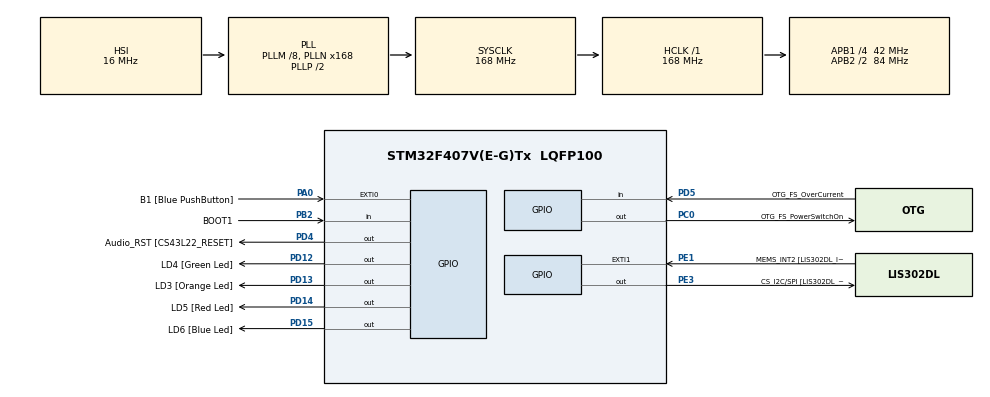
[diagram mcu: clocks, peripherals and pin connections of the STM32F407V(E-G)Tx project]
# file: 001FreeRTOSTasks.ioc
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Mcu.Family=STM32F4
PA11.GPIO_Speed=GPIO_SPEED_FREQ_LOW
PC3.GPIO_Mode=GPIO_MODE_AF_PP
PD12.GPIO_Label=LD4 [Green Led]
PH0-OSC_IN.Signal=RCC_OSC_IN
VP_SYS_VS_tim6.Mode=TIM6
RCC.CortexFreq_Value=168000000
PC10.GPIO_PuPd=GPIO_NOPULL
PB10.GPIO_Speed=GPIO_SPEED_FREQ_LOW
PB6.GPIO_Mode=GPIO_MODE_AF_OD
PB10.GPIO_PuPd=GPIO_NOPULL
NVIC.TIM6_DAC_IRQn=true\:0\:0\:false\:false\:true\:false\:true
PA10.GPIO_PuPd=GPIO_NOPULL
PD15.GPIO_Speed=GPIO_SPEED_FREQ_LOW
PC10.Signal=I2S3_CK
PC12.Signal=I2S3_SD
PA14.GPIO_Label=SWCLK
PA7.GPIO_Mode=GPIO_MODE_AF_PP
PC0.GPIO_Label=OTG_FS_PowerSwitchOn
PA6.GPIO_Label=SPI1_MISO [LIS302DL_SDO]
PB6.GPIO_Label=Audio_SCL [CS43L22_SCL]
PC10.GPIO_Speed=GPIO_SPEED_FREQ_LOW
PA11.GPIO_PuPd=GPIO_NOPULL
PC15-OSC32_OUT.GPIO_Label=PC15-OSC32_OUT
PC3.GPIO_Speed=GPIO_SPEED_FREQ_LOW
RCC.SYSCLKSource=RCC_SYSCLKSOURCE_PLLCLK
ProjectManager.StackSize=0x400
PA6.GPIO_Mode=GPIO_MODE_AF_PP
PD13.Signal=GPIO_Output
PD14.GPIO_Speed=GPIO_SPEED_FREQ_LOW
PA12.Signal=USB_OTG_FS_DP
RCC.HCLKFreq_Value=168000000
PD4.Signal=GPIO_Output
RCC.APB2TimFreq_Value=168000000
PB6.Signal=I2C1_SCL
PC7.Signal=I2S3_MCK
PC3.Signal=I2S2_SD
PE1.Signal=GPXTI1
RCC.AHBFreq_Value=168000000
PH0-OSC_IN.GPIO_Label=PH0-OSC_IN
PA9.GPIO_Mode=GPIO_MODE_INPUT
RCC.HSE_VALUE=8000000
PA4.GPIO_PuPd=GPIO_NOPULL
PB2.Signal=GPIO_Input
PA4.GPIO_Speed=GPIO_SPEED_FREQ_LOW
PA6.GPIO_PuPd=GPIO_NOPULL
PA5.GPIO_PuPd=GPIO_NOPULL
PA10.GPIO_Label=OTG_FS_ID
PC7.GPIO_Mode=GPIO_MODE_AF_PP
PD5.GPIO_Mode=GPIO_MODE_INPUT
PD14.GPIO_PuPd=GPIO_NOPULL
PB2.GPIO_PuPd=GPIO_NOPULL
PD13.GPIO_Label=LD3 [Orange Led]
Mcu.Package=LQFP100
PB9.Signal=I2C1_SDA
PA6.Signal=SPI1_MISO
NVIC.TimeBase=TIM6_DAC_IRQn
PD12.Signal=GPIO_Output
PD5.GPIO_Label=OTG_FS_OverCurrent
PD15.GPIO_PuPd=GPIO_NOPULL
NVIC.TimeBaseIP=TIM6
PA10.Signal=USB_OTG_FS_ID
PB9.GPIO_PuPd=GPIO_NOPULL
PA10.GPIO_Speed=GPIO_SPEED_FREQ_LOW
RCC.APB2CLKDivider=RCC_HCLK_DIV2
PB9.GPIO_Speed=GPIO_SPEED_FREQ_LOW
RCC.APB1TimFreq_Value=84000000
PC14-OSC32_IN.GPIO_Label=PC14-OSC32_IN
PC12.GPIO_PuPd=GPIO_NOPULL
PA6.GPIO_Speed=GPIO_SPEED_FREQ_LOW
PC0.GPIO_PuPd=GPIO_NOPULL
PA12.GPIO_PuPd=GPIO_NOPULL
PA4.GPIO_Label=I2S3_WS [CS43L22_LRCK]
PD15.Signal=GPIO_Output
PC0.PinState=GPIO_PIN_SET
PA12.GPIO_Speed=GPIO_SPEED_FREQ_LOW
PB3.GPIO_Label=SWO
PD12.GPIO_Speed=GPIO_SPEED_FREQ_LOW
PD15.GPIO_Label=LD6 [Blue Led]
PB9.GPIO_Label=Audio_SDA [CS43L22_SDA]
PC10.GPIO_Label=I2S3_SCK [CS43L22_SCLK]
PA9.GPIO_Label=VBUS_FS
PB6.GPIO_PuPd=GPIO_NOPULL
PA11.GPIO_Label=OTG_FS_DM
PE1.GPIO_PuPd=GPIO_NOPULL
PD5.Signal=GPIO_Input
PC0.Signal=GPIO_Output
PE1.GPIO_ModeDefaultEXTI=GPIO_MODE_EVT_RISING
RCC.APB1CLKDivider=RCC_HCLK_DIV4
PC14-OSC32_IN.Signal=RCC_OSC32_IN
PA9.GPIO_PuPd=GPIO_NOPULL
PA12.GPIO_Label=OTG_FS_DP
PA0-WKUP.GPIO_Label=B1 [Blue PushButton]
PA0-WKUP.Signal=GPXTI0
PA10.GPIO_Mode=GPIO_MODE_AF_PP
PA13.Signal=SYS_JTMS-SWDIO
PC10.GPIO_Mode=GPIO_MODE_AF_PP
PD4.GPIO_PuPd=GPIO_NOPULL
PC0.GPIO_Speed=GPIO_SPEED_FREQ_LOW
PB10.GPIO_Mode=GPIO_MODE_AF_PP
ProjectManager.TargetToolchain=STM32CubeIDE
PB10.GPIO_Label=CLK_IN [MP45DT02_CLK]
PA9.Signal=USB_OTG_FS_VBUS
PC7.GPIO_PuPd=GPIO_NOPULL
RCC.LSE_VALUE=32768
PC15-OSC32_OUT.Signal=RCC_OSC32_OUT
PA7.GPIO_PuPd=GPIO_NOPULL
PB10.Signal=I2S2_CK
PA5.Signal=SPI1_SCK
board=STM32F407G-DISC1
PD13.GPIO_Speed=GPIO_SPEED_FREQ_LOW
PC7.GPIO_Speed=GPIO_SPEED_FREQ_LOW
RCC.VCOOutputFreq_Value=336000000
PE1.GPIO_Label=MEMS_INT2 [LIS302DL_INT2]
PA7.GPIO_Speed=GPIO_SPEED_FREQ_LOW
PB9.GPIO_Mode=GPIO_MODE_AF_OD
PA12.GPIO_Mode=GPIO_MODE_AF_PP
PA4.GPIO_Mode=GPIO_MODE_AF_PP
RCC.APB2Freq_Value=84000000
PB2.GPIO_Mode=GPIO_MODE_INPUT
PD4.GPIO_Label=Audio_RST [CS43L22_RESET]
PD4.GPIO_Speed=GPIO_SPEED_FREQ_LOW
PE3.GPIO_PuPd=GPIO_NOPULL
PH1-OSC_OUT.Signal=RCC_OSC_OUT
PD13.GPIO_PuPd=GPIO_NOPULL
PD5.GPIO_PuPd=GPIO_NOPULL
PD14.GPIO_Label=LD5 [Red Led]
PH1-OSC_OUT.GPIO_Label=PH1-OSC_OUT
Mcu.Name=STM32F407V(E-G)Tx
PA13.GPIO_Label=SWDIO
PC7.GPIO_Label=I2S3_MCK [CS43L22_MCLK]
PD14.Signal=GPIO_Output
RCC.48MHZClocksFreq_Value=48000000
PB3.Signal=SYS_JTDO-SWO
PA4.Signal=I2S3_WS
RCC.SYSCLKFreq_VALUE=168000000
PC12.GPIO_Mode=GPIO_MODE_AF_PP
PA7.GPIO_Label=SPI1_MOSI [LIS302DL_SDA/SDI/SDO]
PA5.GPIO_Label=SPI1_SCK [LIS302DL_SCL/SPC]
PE3.GPIO_Speed=GPIO_SPEED_FREQ_LOW
PC12.GPIO_Label=I2S3_SD [CS43L22_SDIN]
PA11.Signal=USB_OTG_FS_DM
PA14.Signal=SYS_JTCK-SWCLK
PB2.GPIO_Label=BOOT1
ProjectManager.HeapSize=0x200
RCC.HSI_VALUE=16000000
PA5.GPIO_Speed=GPIO_SPEED_FREQ_LOW
RCC.PLLQ=7
NVIC.PriorityGroup=NVIC_PRIORITYGROUP_4
RCC.PLLM=8
RCC.PLLN=168
PE3.Signal=GPIO_Output
PE3.GPIO_Label=CS_I2C/SPI [LIS302DL_CS_I2C/SPI]
PC3.GPIO_Label=PDM_OUT [MP45DT02_DOUT]
PA11.GPIO_Mode=GPIO_MODE_AF_PP
PB6.GPIO_Speed=GPIO_SPEED_FREQ_LOW
RCC.APB1Freq_Value=42000000
PA5.GPIO_Mode=GPIO_MODE_AF_PP
PC12.GPIO_Speed=GPIO_SPEED_FREQ_LOW
PC3.GPIO_PuPd=GPIO_NOPULL
PD12.GPIO_PuPd=GPIO_NOPULL
PA7.Signal=SPI1_MOSI

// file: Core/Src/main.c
/* USER CODE BEGIN Header */
/**
  ******************************************************************************
  * @file           : main.c
  * @brief          : Main program body
  ******************************************************************************
  * @attention
  *
  * <h2><center>&copy; Copyright (c) 2021 STMicroelectronics.
  * All rights reserved.</center></h2>
  *
  * This software component is licensed by ST under BSD 3-Clause license,
  * the "License"; You may not use this file except in compliance with the
  * License. You may obtain a copy of the License at:
  *                        opensource.org/licenses/BSD-3-Clause
  *
  ******************************************************************************
  */
/* USER CODE END Header */
#include "main.h"

/* USER CODE BEGIN Includes */
#include "FreeRTOS.h"
#include "task.h"
#include <stdio.h>
/* USER CODE END Includes */

/* USER CODE BEGIN PM */

#define DWT_CTRL  (*(volatile uint32_t *)0xE0001000)

/* USER CODE END PM */

void SystemClock_Config(void);
static void MX_GPIO_Init(void);
/* USER CODE BEGIN PFP */
extern void SEGGER_UART_init(U32 baud);
static void task1_handler(void* parameters);
static void task2_handler(void* parameters);
/* USER CODE END PFP */

int main(void)
{
  /* USER CODE BEGIN 1 */

  TaskHandle_t task1_handle, task2_handle;
  BaseType_t status;   // To store the status return from the xTaskCreate

  /* USER CODE END 1 */

  /* MCU Configuration--------------------------------------------------------*/

  /* Reset of all peripherals, Initializes the Flash interface and the Systick. */
  HAL_Init();

  /* Configure the system clock */
  SystemClock_Config();

  /* Initialize all configured peripherals */
  MX_GPIO_Init();
  /* USER CODE BEGIN 2 */

  // Enable the CYCCNT counter (for SEGGER)
  DWT_CTRL |= (1 << 0);

  // Config. uart based SEGGER communication
  SEGGER_UART_init(250000);

  // Starting the recording (for SEGGER)
  SEGGER_SYSVIEW_Conf();

  // Config. Task 1
  status = xTaskCreate(&task1_handler, "Task-1", 200, "Hello Word from Task-1", 2, &task1_handle);
  configASSERT(status == pdPASS);  // Traps the code if the above function returns an unexpected status

  // Config. Task 2
  status = xTaskCreate(&task2_handler, "Task-2", 200, "Hello Word from Task-2", 2, &task2_handle);
  configASSERT(status == pdPASS);  // Traps the code if the above function returns an unexpected status

  // Start the freeRTOS scheduler
  vTaskStartScheduler();

  // If the control comes here, then the launch of the scheduler has failed due to insufficient
  // memory in the heap

  /* USER CODE END 2 */

  /* Infinite loop */
  while (1)
  {

  }
}

void SystemClock_Config(void)
{
  RCC_OscInitTypeDef RCC_OscInitStruct = {0};
  RCC_ClkInitTypeDef RCC_ClkInitStruct = {0};

  /** Configure the main internal regulator output voltage
  */
  __HAL_RCC_PWR_CLK_ENABLE();
  __HAL_PWR_VOLTAGESCALING_CONFIG(PWR_REGULATOR_VOLTAGE_SCALE1);
  /** Initializes the RCC Oscillators according to the specified parameters
  * in the RCC_OscInitTypeDef structure.
  */
  RCC_OscInitStruct.OscillatorType = RCC_OSCILLATORTYPE_HSI;
  RCC_OscInitStruct.HSIState = RCC_HSI_ON;
  RCC_OscInitStruct.HSICalibrationValue = RCC_HSICALIBRATION_DEFAULT;
  RCC_OscInitStruct.PLL.PLLState = RCC_PLL_ON;
  RCC_OscInitStruct.PLL.PLLSource = RCC_PLLSOURCE_HSI;
  RCC_OscInitStruct.PLL.PLLM = 8;
  RCC_OscInitStruct.PLL.PLLN = 168;
  RCC_OscInitStruct.PLL.PLLP = RCC_PLLP_DIV2;
  RCC_OscInitStruct.PLL.PLLQ = 7;
  if (HAL_RCC_OscConfig(&RCC_OscInitStruct) != HAL_OK)
  {
    Error_Handler();
  }
  /** Initializes the CPU, AHB and APB buses clocks
  */
  RCC_ClkInitStruct.ClockType = RCC_CLOCKTYPE_HCLK|RCC_CLOCKTYPE_SYSCLK
                              |RCC_CLOCKTYPE_PCLK1|RCC_CLOCKTYPE_PCLK2;
  RCC_ClkInitStruct.SYSCLKSource = RCC_SYSCLKSOURCE_PLLCLK;
  RCC_ClkInitStruct.AHBCLKDivider = RCC_SYSCLK_DIV1;
  RCC_ClkInitStruct.APB1CLKDivider = RCC_HCLK_DIV4;
  RCC_ClkInitStruct.APB2CLKDivider = RCC_HCLK_DIV2;

  if (HAL_RCC_ClockConfig(&RCC_ClkInitStruct, FLASH_LATENCY_5) != HAL_OK)
  {
    Error_Handler();
  }
}

static void MX_GPIO_Init(void)
{
  GPIO_InitTypeDef GPIO_InitStruct = {0};

  /* GPIO Ports Clock Enable */
  __HAL_RCC_GPIOE_CLK_ENABLE();
  __HAL_RCC_GPIOC_CLK_ENABLE();
  __HAL_RCC_GPIOH_CLK_ENABLE();
  __HAL_RCC_GPIOA_CLK_ENABLE();
  __HAL_RCC_GPIOB_CLK_ENABLE();
  __HAL_RCC_GPIOD_CLK_ENABLE();

  /*Configure GPIO pin Output Level */
  HAL_GPIO_WritePin(CS_I2C_SPI_GPIO_Port, CS_I2C_SPI_Pin, GPIO_PIN_RESET);

  /*Configure GPIO pin Output Level */
  HAL_GPIO_WritePin(OTG_FS_PowerSwitchOn_GPIO_Port, OTG_FS_PowerSwitchOn_Pin, GPIO_PIN_SET);

  /*Configure GPIO pin Output Level */
  HAL_GPIO_WritePin(GPIOD, LD4_Pin|LD3_Pin|LD5_Pin|LD6_Pin
                          |Audio_RST_Pin, GPIO_PIN_RESET);

  /*Configure GPIO pin : CS_I2C_SPI_Pin */
  GPIO_InitStruct.Pin = CS_I2C_SPI_Pin;
  GPIO_InitStruct.Mode = GPIO_MODE_OUTPUT_PP;
  GPIO_InitStruct.Pull = GPIO_NOPULL;
  GPIO_InitStruct.Speed = GPIO_SPEED_FREQ_LOW;
  HAL_GPIO_Init(CS_I2C_SPI_GPIO_Port, &GPIO_InitStruct);

  /*Configure GPIO pin : OTG_FS_PowerSwitchOn_Pin */
  GPIO_InitStruct.Pin = OTG_FS_PowerSwitchOn_Pin;
  GPIO_InitStruct.Mode = GPIO_MODE_OUTPUT_PP;
  GPIO_InitStruct.Pull = GPIO_NOPULL;
  GPIO_InitStruct.Speed = GPIO_SPEED_FREQ_LOW;
  HAL_GPIO_Init(OTG_FS_PowerSwitchOn_GPIO_Port, &GPIO_InitStruct);

  /*Configure GPIO pin : PDM_OUT_Pin */
  GPIO_InitStruct.Pin = PDM_OUT_Pin;
  GPIO_InitStruct.Mode = GPIO_MODE_AF_PP;
  GPIO_InitStruct.Pull = GPIO_NOPULL;
  GPIO_InitStruct.Speed = GPIO_SPEED_FREQ_LOW;
  GPIO_InitStruct.Alternate = GPIO_AF5_SPI2;
  HAL_GPIO_Init(PDM_OUT_GPIO_Port, &GPIO_InitStruct);

  /*Configure GPIO pin : B1_Pin */
  GPIO_InitStruct.Pin = B1_Pin;
  GPIO_InitStruct.Mode = GPIO_MODE_IT_RISING;
  GPIO_InitStruct.Pull = GPIO_NOPULL;
  HAL_GPIO_Init(B1_GPIO_Port, &GPIO_InitStruct);

  /*Configure GPIO pin : I2S3_WS_Pin */
  GPIO_InitStruct.Pin = I2S3_WS_Pin;
  GPIO_InitStruct.Mode = GPIO_MODE_AF_PP;
  GPIO_InitStruct.Pull = GPIO_NOPULL;
  GPIO_InitStruct.Speed = GPIO_SPEED_FREQ_LOW;
  GPIO_InitStruct.Alternate = GPIO_AF6_SPI3;
  HAL_GPIO_Init(I2S3_WS_GPIO_Port, &GPIO_InitStruct);

  /*Configure GPIO pins : SPI1_SCK_Pin SPI1_MISO_Pin SPI1_MOSI_Pin */
  GPIO_InitStruct.Pin = SPI1_SCK_Pin|SPI1_MISO_Pin|SPI1_MOSI_Pin;
  GPIO_InitStruct.Mode = GPIO_MODE_AF_PP;
  GPIO_InitStruct.Pull = GPIO_NOPULL;
  GPIO_InitStruct.Speed = GPIO_SPEED_FREQ_LOW;
  GPIO_InitStruct.Alternate = GPIO_AF5_SPI1;
  HAL_GPIO_Init(GPIOA, &GPIO_InitStruct);

  /*Configure GPIO pin : BOOT1_Pin */
  GPIO_InitStruct.Pin = BOOT1_Pin;
  GPIO_InitStruct.Mode = GPIO_MODE_INPUT;
  GPIO_InitStruct.Pull = GPIO_NOPULL;
  HAL_GPIO_Init(BOOT1_GPIO_Port, &GPIO_InitStruct);

  /*Configure GPIO pin : CLK_IN_Pin */
  GPIO_InitStruct.Pin = CLK_IN_Pin;
  GPIO_InitStruct.Mode = GPIO_MODE_AF_PP;
  GPIO_InitStruct.Pull = GPIO_NOPULL;
  GPIO_InitStruct.Speed = GPIO_SPEED_FREQ_LOW;
  GPIO_InitStruct.Alternate = GPIO_AF5_SPI2;
  HAL_GPIO_Init(CLK_IN_GPIO_Port, &GPIO_InitStruct);

  /*Configure GPIO pins : LD4_Pin LD3_Pin LD5_Pin LD6_Pin
                           Audio_RST_Pin */
  GPIO_InitStruct.Pin = LD4_Pin|LD3_Pin|LD5_Pin|LD6_Pin
                          |Audio_RST_Pin;
  GPIO_InitStruct.Mode = GPIO_MODE_OUTPUT_PP;
  GPIO_InitStruct.Pull = GPIO_NOPULL;
  GPIO_InitStruct.Speed = GPIO_SPEED_FREQ_LOW;
  HAL_GPIO_Init(GPIOD, &GPIO_InitStruct);

  /*Configure GPIO pins : I2S3_MCK_Pin I2S3_SCK_Pin I2S3_SD_Pin */
  GPIO_InitStruct.Pin = I2S3_MCK_Pin|I2S3_SCK_Pin|I2S3_SD_Pin;
  GPIO_InitStruct.Mode = GPIO_MODE_AF_PP;
  GPIO_InitStruct.Pull = GPIO_NOPULL;
  GPIO_InitStruct.Speed = GPIO_SPEED_FREQ_LOW;
  GPIO_InitStruct.Alternate = GPIO_AF6_SPI3;
  HAL_GPIO_Init(GPIOC, &GPIO_InitStruct);

  /*Configure GPIO pin : VBUS_FS_Pin */
  GPIO_InitStruct.Pin = VBUS_FS_Pin;
  GPIO_InitStruct.Mode = GPIO_MODE_INPUT;
  GPIO_InitStruct.Pull = GPIO_NOPULL;
  HAL_GPIO_Init(VBUS_FS_GPIO_Port, &GPIO_InitStruct);

  /*Configure GPIO pins : OTG_FS_ID_Pin OTG_FS_DM_Pin OTG_FS_DP_Pin */
  GPIO_InitStruct.Pin = OTG_FS_ID_Pin|OTG_FS_DM_Pin|OTG_FS_DP_Pin;
  GPIO_InitStruct.Mode = GPIO_MODE_AF_PP;
  GPIO_InitStruct.Pull = GPIO_NOPULL;
  GPIO_InitStruct.Speed = GPIO_SPEED_FREQ_LOW;
  GPIO_InitStruct.Alternate = GPIO_AF10_OTG_FS;
  HAL_GPIO_Init(GPIOA, &GPIO_InitStruct);

  /*Configure GPIO pin : OTG_FS_OverCurrent_Pin */
  GPIO_InitStruct.Pin = OTG_FS_OverCurrent_Pin;
  GPIO_InitStruct.Mode = GPIO_MODE_INPUT;
  GPIO_InitStruct.Pull = GPIO_NOPULL;
  HAL_GPIO_Init(OTG_FS_OverCurrent_GPIO_Port, &GPIO_InitStruct);

  /*Configure GPIO pins : Audio_SCL_Pin Audio_SDA_Pin */
  GPIO_InitStruct.Pin = Audio_SCL_Pin|Audio_SDA_Pin;
  GPIO_InitStruct.Mode = GPIO_MODE_AF_OD;
  GPIO_InitStruct.Pull = GPIO_PULLUP;
  GPIO_InitStruct.Speed = GPIO_SPEED_FREQ_LOW;
  GPIO_InitStruct.Alternate = GPIO_AF4_I2C1;
  HAL_GPIO_Init(GPIOB, &GPIO_InitStruct);

  /*Configure GPIO pin : MEMS_INT2_Pin */
  GPIO_InitStruct.Pin = MEMS_INT2_Pin;
  GPIO_InitStruct.Mode = GPIO_MODE_EVT_RISING;
  GPIO_InitStruct.Pull = GPIO_NOPULL;
  HAL_GPIO_Init(MEMS_INT2_GPIO_Port, &GPIO_InitStruct);

}

/* USER CODE BEGIN 4 */

static void task1_handler(void* parameters){
	char msg[100];
	for(;;){
		snprintf(msg, 100, "%s\n", (char *)parameters);
		SEGGER_SYSVIEW_PrintfTarget(msg);
		taskYIELD();  // Cooperative scheduling - this makes the task to give-up the processor
	}

}

static void task2_handler(void* parameters){
	char msg[100];
	for(;;){
		snprintf(msg, 100, "%s\n", (char *)parameters);
		SEGGER_SYSVIEW_PrintfTarget(msg);
		taskYIELD();  // Cooperative scheduling - this makes the task to give-up the processor
	}

}

/* USER CODE END 4 */

 /**
  * @brief  Period elapsed callback in non blocking mode
  * @note   This function is called  when TIM6 interrupt took place, inside
  * HAL_TIM_IRQHandler(). It makes a direct call to HAL_IncTick() to increment
  * a global variable "uwTick" used as application time base.
  * @param  htim : TIM handle
  * @retval None
  */
void HAL_TIM_PeriodElapsedCallback(TIM_HandleTypeDef *htim)
{
  if (htim->Instance == TIM6) {
    HAL_IncTick();
  }
}

void Error_Handler(void)
{
  __disable_irq();
  while (1)
  {
  }
}

/************************ (C) COPYRIGHT STMicroelectronics *****END OF FILE****/
